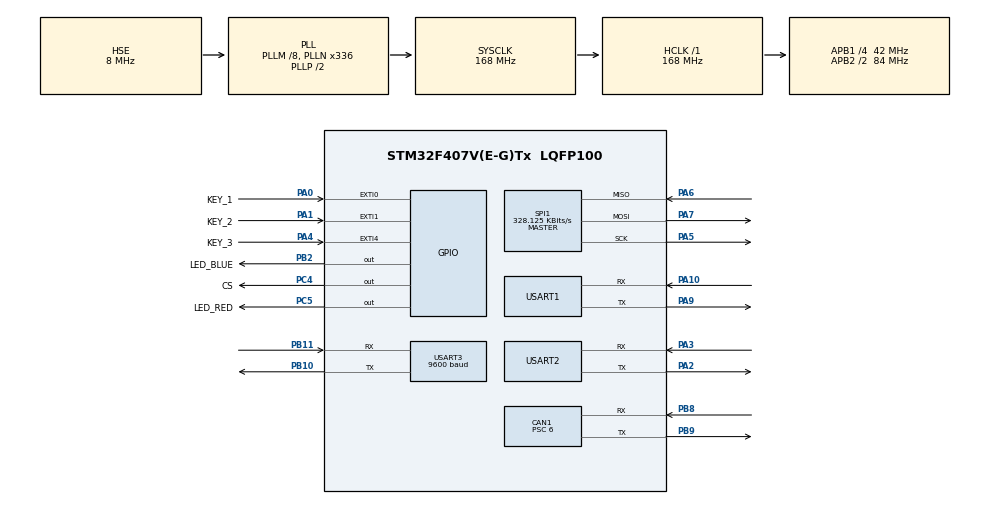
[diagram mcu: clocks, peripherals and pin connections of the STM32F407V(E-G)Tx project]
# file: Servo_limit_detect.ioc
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CAN1.BS1=CAN_BS1_11TQ
CAN1.BS2=CAN_BS2_2TQ
CAN1.CalculateBaudRate=500000
CAN1.CalculateTimeBit=2000
CAN1.CalculateTimeQuantum=142.85714285714286
CAN1.Prescaler=6
FREERTOS.BinarySemaphores01=Key1Sema,Dynamic,NULL,Depleted;Key2Sema,Dynamic,NULL,Depleted;Key3Sema,Dynamic,NULL,Depleted
FREERTOS.Tasks01=LCD_TASK,24,1024,LCD_TASK_ENTRY,As weak,NULL,Dynamic,NULL,NULL;Current_Task,32,128,Get_Current,As weak,NULL,Static,Current_TaskBuffer,Current_TaskControlBlock;RELAY_TASK,16,128,App_relay,As weak,NULL,Dynamic,NULL,NULL;KEY_SCAN,8,128,App_Key_Scan,As weak,NULL,Dynamic,NULL,NULL;SWEEP,40,256,App_sweep_task,As weak,NULL,Static,SWEEPBuffer,SWEEPControlBlock
Mcu.Family=STM32F4
Mcu.Name=STM32F407V(E-G)Tx
Mcu.Package=LQFP100
NVIC.CAN1_RX0_IRQn=true\:5\:0\:false\:false\:true\:true\:true\:true\:true
NVIC.EXTI0_IRQn=true\:5\:0\:false\:false\:true\:true\:true\:true\:true
NVIC.EXTI1_IRQn=true\:5\:0\:false\:false\:true\:true\:true\:true\:true
NVIC.EXTI4_IRQn=true\:5\:0\:false\:false\:true\:true\:true\:true\:true
NVIC.PriorityGroup=NVIC_PRIORITYGROUP_4
NVIC.TIM1_UP_TIM10_IRQn=true\:5\:0\:false\:false\:true\:true\:true\:true\:true
NVIC.TIM6_DAC_IRQn=true\:15\:0\:false\:false\:true\:false\:false\:true\:true
NVIC.TIM7_IRQn=true\:5\:0\:false\:false\:true\:true\:true\:true\:true
NVIC.TimeBase=TIM6_DAC_IRQn
NVIC.TimeBaseIP=TIM6
PA0-WKUP.GPIO_Label=KEY_1
PA0-WKUP.GPIO_PuPd=GPIO_PULLDOWN
PA0-WKUP.Signal=GPXTI0
PA1.GPIO_Label=KEY_2
PA1.GPIO_ModeDefaultEXTI=GPIO_MODE_IT_FALLING
PA1.GPIO_PuPd=GPIO_PULLUP
PA1.Signal=GPXTI1
PA10.Mode=Asynchronous
PA10.Signal=USART1_RX
PA13.Mode=Serial_Wire
PA13.Signal=SYS_JTMS-SWDIO
PA14.Mode=Serial_Wire
PA14.Signal=SYS_JTCK-SWCLK
PA2.Mode=Asynchronous
PA2.Signal=USART2_TX
PA3.Mode=Asynchronous
PA3.Signal=USART2_RX
PA4.GPIO_Label=KEY_3
PA4.GPIO_ModeDefaultEXTI=GPIO_MODE_IT_FALLING
PA4.GPIO_PuPd=GPIO_PULLUP
PA4.Signal=GPXTI4
PA5.Mode=Full_Duplex_Master
PA5.Signal=SPI1_SCK
PA6.Mode=Full_Duplex_Master
PA6.Signal=SPI1_MISO
PA7.Mode=Full_Duplex_Master
PA7.Signal=SPI1_MOSI
PA9.Mode=Asynchronous
PA9.Signal=USART1_TX
PB10.Mode=Asynchronous
PB10.Signal=USART3_TX
PB11.Mode=Asynchronous
PB11.Signal=USART3_RX
PB2.GPIO_Label=LED_BLUE
PB2.PinState=GPIO_PIN_SET
PB2.Signal=GPIO_Output
PB8.Mode=CAN_Activate
PB8.Signal=CAN1_RX
PB9.Mode=CAN_Activate
PB9.Signal=CAN1_TX
PC4.GPIO_Label=CS
PC4.Signal=GPIO_Output
PC5.GPIO_Label=LED_RED
PC5.PinState=GPIO_PIN_SET
PC5.Signal=GPIO_Output
PH0-OSC_IN.Mode=HSE-External-Oscillator
PH0-OSC_IN.Signal=RCC_OSC_IN
PH1-OSC_OUT.Mode=HSE-External-Oscillator
PH1-OSC_OUT.Signal=RCC_OSC_OUT
ProjectManager.HeapSize=0x1000
ProjectManager.StackSize=0x1000
ProjectManager.TargetToolchain=MDK-ARM V5.32
RCC.48MHZClocksFreq_Value=48000000
RCC.AHBFreq_Value=168000000
RCC.APB1CLKDivider=RCC_HCLK_DIV4
RCC.APB1Freq_Value=42000000
RCC.APB1TimFreq_Value=84000000
RCC.APB2CLKDivider=RCC_HCLK_DIV2
RCC.APB2Freq_Value=84000000
RCC.APB2TimFreq_Value=168000000
RCC.CortexFreq_Value=168000000
RCC.HCLKFreq_Value=168000000
RCC.HSE_VALUE=8000000
RCC.HSI_VALUE=16000000
RCC.LSE_VALUE=32768
RCC.PLLM=8
RCC.PLLN=336
RCC.PLLQ=7
RCC.PLLSourceVirtual=RCC_PLLSOURCE_HSE
RCC.SYSCLKFreq_VALUE=168000000
RCC.SYSCLKSource=RCC_SYSCLKSOURCE_PLLCLK
RCC.VCOOutputFreq_Value=336000000
SPI1.BaudRatePrescaler=SPI_BAUDRATEPRESCALER_256
SPI1.CLKPolarity=SPI_POLARITY_HIGH
SPI1.CalculateBaudRate=328.125 KBits/s
SPI1.Direction=SPI_DIRECTION_2LINES
SPI1.Mode=SPI_MODE_MASTER
SPI1.VirtualType=VM_MASTER
TIM10.Period=999
TIM10.Prescaler=167
TIM7.Period=9999
TIM7.Prescaler=8399
USART1.VirtualMode=VM_ASYNC
USART2.VirtualMode=VM_ASYNC
USART3.BaudRate=9600
USART3.VirtualMode=VM_ASYNC
VP_FREERTOS_VS_CMSIS_V2.Mode=CMSIS_V2
VP_SYS_VS_tim6.Mode=TIM6
VP_TIM10_VS_ClockSourceINT.Mode=Enable_Timer
VP_TIM7_VS_ClockSourceINT.Mode=Enable_Timer
board=custom

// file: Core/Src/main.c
/* USER CODE BEGIN Header */
/**
  ******************************************************************************
  * @file           : main.c
  * @brief          : Main program body
  ******************************************************************************
  * @attention
  *
  * Copyright (c) 2026 STMicroelectronics.
  * All rights reserved.
  *
  * This software is licensed under terms that can be found in the LICENSE file
  * in the root directory of this software component.
  * If no LICENSE file comes with this software, it is provided AS-IS.
  *
  ******************************************************************************
  */
/* USER CODE END Header */
#include "main.h"
#include "cmsis_os.h"
#include "can.h"
#include "spi.h"
#include "tim.h"
#include "usart.h"
#include "gpio.h"

/* USER CODE BEGIN Includes */
#include "bsp_LCD_ILI9341.h"
#include "SEGGER_RTT.h"
#include "current.h"
#include "lvgl.h"
#include "lv_port_disp.h"
#include "lv_port_indev.h"
#include "machine.h"
/* USER CODE END Includes */

void SystemClock_Config(void);
void MX_FREERTOS_Init(void);

int main(void)
{

  /* MCU Configuration--------------------------------------------------------*/

  /* Reset of all peripherals, Initializes the Flash interface and the Systick. */
  HAL_Init();

  /* USER CODE BEGIN Init */
    SEGGER_RTT_Init();
  /* USER CODE END Init */

  /* Configure the system clock */
  SystemClock_Config();

  /* Initialize all configured peripherals */
  MX_GPIO_Init();
  MX_USART1_UART_Init();
  MX_CAN1_Init();
  MX_SPI1_Init();
  MX_USART2_UART_Init();
  MX_USART3_UART_Init();
  MX_TIM7_Init();
  MX_TIM10_Init();
  /* USER CODE BEGIN 2 */
    LCD_Init();
    Current_Init();
    lv_init();
    lv_port_disp_init();
    lv_port_indev_init();
    HAL_TIM_Base_Start_IT(&htim10);   /* 1 kHz LVGL tick */
    Machine_Init();                   /* 默认机型 + 重建运行时表（任务启动前） */

  /* USER CODE END 2 */

  /* Init scheduler */
  osKernelInitialize();  /* Call init function for freertos objects (in cmsis_os2.c) */
  MX_FREERTOS_Init();

  /* Start scheduler */
  osKernelStart();

  /* We should never get here as control is now taken by the scheduler */

  /* Infinite loop */
    while (1)
    {

    }
}

void SystemClock_Config(void)
{
  RCC_OscInitTypeDef RCC_OscInitStruct = {0};
  RCC_ClkInitTypeDef RCC_ClkInitStruct = {0};

  /** Configure the main internal regulator output voltage
  */
  __HAL_RCC_PWR_CLK_ENABLE();
  __HAL_PWR_VOLTAGESCALING_CONFIG(PWR_REGULATOR_VOLTAGE_SCALE1);

  /** Initializes the RCC Oscillators according to the specified parameters
  * in the RCC_OscInitTypeDef structure.
  */
  RCC_OscInitStruct.OscillatorType = RCC_OSCILLATORTYPE_HSE;
  RCC_OscInitStruct.HSEState = RCC_HSE_ON;
  RCC_OscInitStruct.PLL.PLLState = RCC_PLL_ON;
  RCC_OscInitStruct.PLL.PLLSource = RCC_PLLSOURCE_HSE;
  RCC_OscInitStruct.PLL.PLLM = 8;
  RCC_OscInitStruct.PLL.PLLN = 336;
  RCC_OscInitStruct.PLL.PLLP = RCC_PLLP_DIV2;
  RCC_OscInitStruct.PLL.PLLQ = 7;
  if (HAL_RCC_OscConfig(&RCC_OscInitStruct) != HAL_OK)
  {
    Error_Handler();
  }

  /** Initializes the CPU, AHB and APB buses clocks
  */
  RCC_ClkInitStruct.ClockType = RCC_CLOCKTYPE_HCLK|RCC_CLOCKTYPE_SYSCLK
                              |RCC_CLOCKTYPE_PCLK1|RCC_CLOCKTYPE_PCLK2;
  RCC_ClkInitStruct.SYSCLKSource = RCC_SYSCLKSOURCE_PLLCLK;
  RCC_ClkInitStruct.AHBCLKDivider = RCC_SYSCLK_DIV1;
  RCC_ClkInitStruct.APB1CLKDivider = RCC_HCLK_DIV4;
  RCC_ClkInitStruct.APB2CLKDivider = RCC_HCLK_DIV2;

  if (HAL_RCC_ClockConfig(&RCC_ClkInitStruct, FLASH_LATENCY_5) != HAL_OK)
  {
    Error_Handler();
  }
}

void HAL_TIM_PeriodElapsedCallback(TIM_HandleTypeDef *htim)
{
  if (htim->Instance == TIM6)
  {
    HAL_IncTick();
  }
}

void Error_Handler(void)
{
    __disable_irq();
    while (1)
    {
    }
}

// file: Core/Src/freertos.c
/* USER CODE BEGIN Header */
/**
  ******************************************************************************
  * File Name          : freertos.c
  * Description        : Code for freertos applications
  ******************************************************************************
  * @attention
  *
  * Copyright (c) 2026 STMicroelectronics.
  * All rights reserved.
  *
  * This software is licensed under terms that can be found in the LICENSE file
  * in the root directory of this software component.
  * If no LICENSE file comes with this software, it is provided AS-IS.
  *
  ******************************************************************************
  */
/* USER CODE END Header */

#include "FreeRTOS.h"
#include "task.h"
#include "main.h"
#include "cmsis_os.h"

typedef StaticTask_t osStaticThreadDef_t;

/* Definitions for LCD_TASK */
osThreadId_t LCD_TASKHandle;
const osThreadAttr_t LCD_TASK_attributes = {
  .name = "LCD_TASK",
  .stack_size = 1024 * 4,
  .priority = (osPriority_t) osPriorityNormal,
};
/* Definitions for Current_Task */
osThreadId_t Current_TaskHandle;
uint32_t Current_TaskBuffer[ 128 ];
osStaticThreadDef_t Current_TaskControlBlock;
const osThreadAttr_t Current_Task_attributes = {
  .name = "Current_Task",
  .cb_mem = &Current_TaskControlBlock,
  .cb_size = sizeof(Current_TaskControlBlock),
  .stack_mem = &Current_TaskBuffer[0],
  .stack_size = sizeof(Current_TaskBuffer),
  .priority = (osPriority_t) osPriorityAboveNormal,
};
/* Definitions for RELAY_TASK */
osThreadId_t RELAY_TASKHandle;
const osThreadAttr_t RELAY_TASK_attributes = {
  .name = "RELAY_TASK",
  .stack_size = 128 * 4,
  .priority = (osPriority_t) osPriorityBelowNormal,
};
/* Definitions for KEY_SCAN */
osThreadId_t KEY_SCANHandle;
const osThreadAttr_t KEY_SCAN_attributes = {
  .name = "KEY_SCAN",
  .stack_size = 128 * 4,
  .priority = (osPriority_t) osPriorityLow,
};
/* Definitions for SWEEP */
osThreadId_t SWEEPHandle;
uint32_t SWEEPBuffer[ 256 ];
osStaticThreadDef_t SWEEPControlBlock;
const osThreadAttr_t SWEEP_attributes = {
  .name = "SWEEP",
  .cb_mem = &SWEEPControlBlock,
  .cb_size = sizeof(SWEEPControlBlock),
  .stack_mem = &SWEEPBuffer[0],
  .stack_size = sizeof(SWEEPBuffer),
  .priority = (osPriority_t) osPriorityHigh,
};
/* Definitions for Key1Sema */
osSemaphoreId_t Key1SemaHandle;
const osSemaphoreAttr_t Key1Sema_attributes = {
  .name = "Key1Sema"
};
/* Definitions for Key2Sema */
osSemaphoreId_t Key2SemaHandle;
const osSemaphoreAttr_t Key2Sema_attributes = {
  .name = "Key2Sema"
};
/* Definitions for Key3Sema */
osSemaphoreId_t Key3SemaHandle;
const osSemaphoreAttr_t Key3Sema_attributes = {
  .name = "Key3Sema"
};

void LCD_TASK_ENTRY(void *argument);
void Get_Current(void *argument);
void App_relay(void *argument);
void App_Key_Scan(void *argument);
void App_sweep_task(void *argument);

void MX_FREERTOS_Init(void); /* (MISRA C 2004 rule 8.1) */

void MX_FREERTOS_Init(void) {

  /* Create the semaphores(s) */
  /* creation of Key1Sema */
  Key1SemaHandle = osSemaphoreNew(1, 0, &Key1Sema_attributes);

  /* creation of Key2Sema */
  Key2SemaHandle = osSemaphoreNew(1, 0, &Key2Sema_attributes);

  /* creation of Key3Sema */
  Key3SemaHandle = osSemaphoreNew(1, 0, &Key3Sema_attributes);

  /* Create the thread(s) */
  /* creation of LCD_TASK */
  LCD_TASKHandle = osThreadNew(LCD_TASK_ENTRY, NULL, &LCD_TASK_attributes);

  /* creation of Current_Task */
  Current_TaskHandle = osThreadNew(Get_Current, NULL, &Current_Task_attributes);

  /* creation of RELAY_TASK */
  RELAY_TASKHandle = osThreadNew(App_relay, NULL, &RELAY_TASK_attributes);

  /* creation of KEY_SCAN */
  KEY_SCANHandle = osThreadNew(App_Key_Scan, NULL, &KEY_SCAN_attributes);

  /* creation of SWEEP */
  SWEEPHandle = osThreadNew(App_sweep_task, NULL, &SWEEP_attributes);

}

__weak void LCD_TASK_ENTRY(void *argument)
{
  for(;;)
  {
    osDelay(1);
  }
}

__weak void Get_Current(void *argument)
{
  for(;;)
  {
    osDelay(1);
  }
}

__weak void App_relay(void *argument)
{
  for(;;)
  {
    osDelay(1);
  }
}

__weak void App_Key_Scan(void *argument)
{
  for(;;)
  {
    osDelay(1);
  }
}

__weak void App_sweep_task(void *argument)
{
  for(;;)
  {
    osDelay(1);
  }
}
